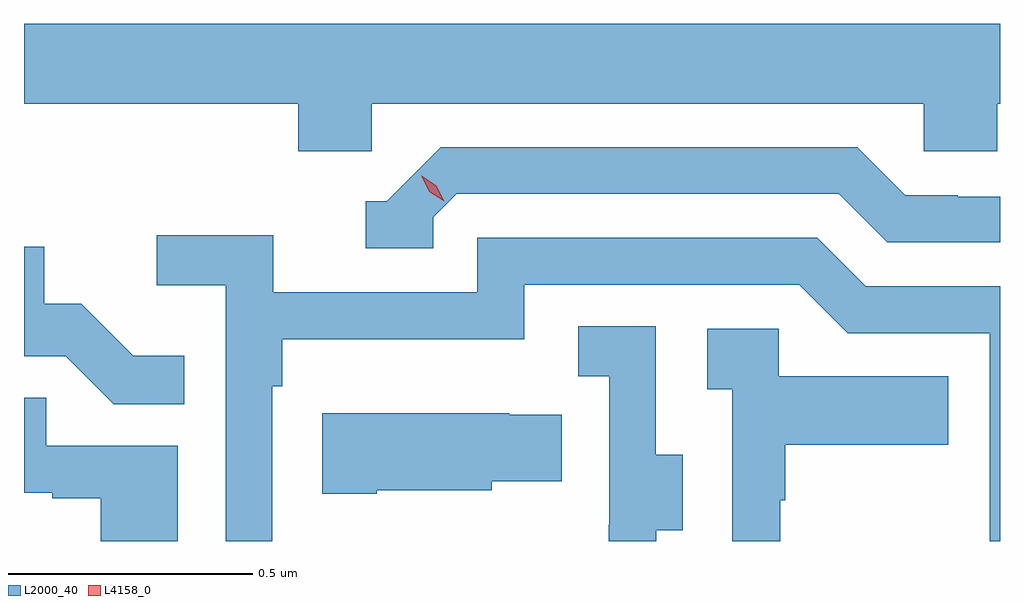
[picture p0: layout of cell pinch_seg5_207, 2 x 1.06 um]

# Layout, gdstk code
import gdstk
lib = gdstk.Library(unit=1e-6, precision=1e-09)
def P(c, l, *ps):  # polygons
    for p in ps: c.add(gdstk.Polygon(p, *l))
L2000_40 = (2000, 40)
L4158_0 = (4158, 0)

pinch_seg5_207 = lib.new_cell('pinch_seg5_207')
P(pinch_seg5_207, L2000_40, [(952.621,911.372),(953.183,911.372),(953.183,911.274),(953.334,911.274),(953.334,911.372),(954.465,911.372),(954.465,911.274),(954.615,911.274),(954.615,911.372),(954.621,911.372),(954.621,911.536),(952.621,911.536)],
  [(953.46,911.139),(953.508,911.187),(954.291,911.187),(954.39,911.088),(954.621,911.088),(954.621,911.181),(954.534,911.181),(954.534,911.184),(954.427,911.184),(954.328,911.283),(953.475,911.283),(953.364,911.172),(953.321,911.172),(953.321,911.076),(953.46,911.076)],
  [(953.13,910.793),(953.15,910.793),(953.15,910.889),(953.646,910.889),(953.646,911.001),(954.21,911.001),(954.309,910.902),(954.6,910.902),(954.6,910.475),(954.621,910.475),(954.621,910.998),(954.346,910.998),(954.247,911.097),(953.55,911.097),(953.55,910.986),(953.132,910.986),(953.132,911.102),(952.893,911.102),(952.893,911),(953.034,911),(953.034,910.475),(953.13,910.475)],
  [(952.949,910.855),(952.845,910.855),(952.738,910.962),(952.662,910.962),(952.662,911.079),(952.621,911.079),(952.621,910.854),(952.707,910.854),(952.805,910.756),(952.949,910.756)],
  [(953.917,910.498),(953.971,910.498),(953.971,910.653),(953.916,910.653),(953.916,910.916),(953.757,910.916),(953.757,910.813),(953.82,910.813),(953.82,910.509),(953.819,910.509),(953.819,910.475),(953.917,910.475)],
  [(954.171,910.559),(954.181,910.559),(954.181,910.673),(954.515,910.673),(954.515,910.813),(954.168,910.813),(954.168,910.911),(954.021,910.911),(954.021,910.787),(954.072,910.787),(954.072,910.475),(954.171,910.475)],
  [(952.936,910.671),(952.667,910.671),(952.667,910.769),(952.621,910.769),(952.621,910.575),(952.679,910.575),(952.679,910.563),(952.778,910.563),(952.778,910.475),(952.936,910.475)],
  [(953.344,910.58),(953.58,910.58),(953.58,910.598),(953.723,910.598),(953.723,910.735),(953.615,910.735),(953.615,910.738),(953.232,910.738),(953.232,910.573),(953.344,910.573)])
P(pinch_seg5_207, L4158_0, [(953.482,911.172),(953.451,911.191),(953.435,911.224),(953.435,911.224),(953.436,911.224),(953.466,911.204),(953.482,911.172),(953.482,911.172)])

lib.write_gds('pinch_seg5_207.gds')
